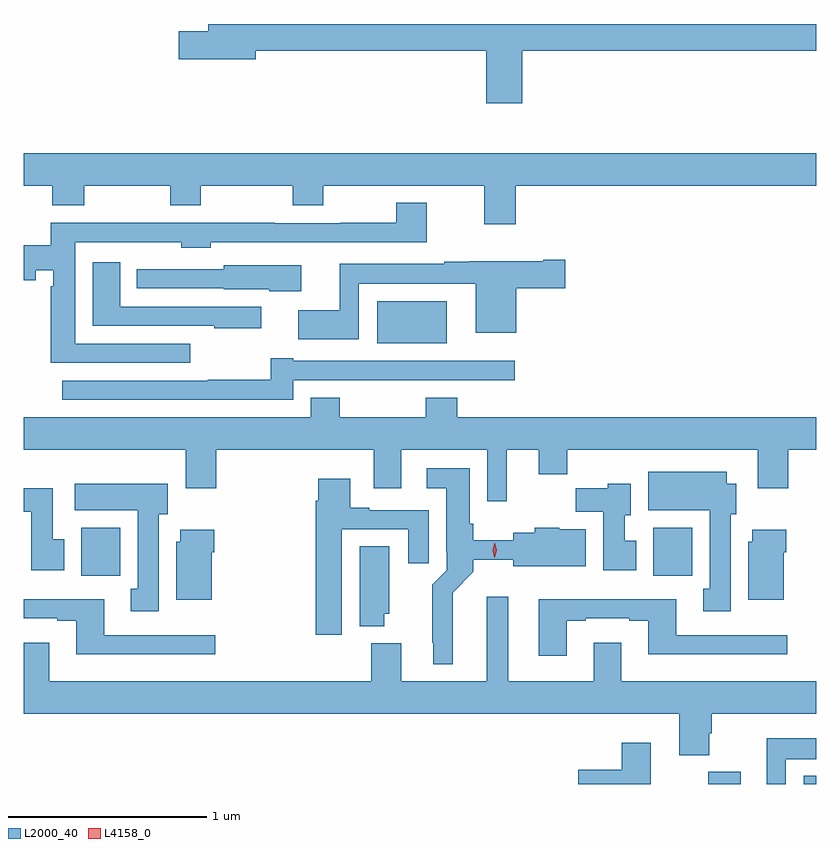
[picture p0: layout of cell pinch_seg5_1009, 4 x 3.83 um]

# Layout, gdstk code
import gdstk
lib = gdstk.Library(unit=1e-6, precision=1e-09)
def R(c, l, rs):  # rectangles x0, y0, x1, y1
    for r in rs: c.add(gdstk.rectangle(r[:2], r[2:], *l))
def P(c, l, *ps):  # polygons
    for p in ps: c.add(gdstk.Polygon(p, *l))
L2000_40 = (2000, 40)
L4158_0 = (4158, 0)

pinch_seg5_1009 = lib.new_cell('pinch_seg5_1009')
R(pinch_seg5_1009, L2000_40, [(749.87,852.41,750.034,852.471), (750.351,852.41,750.415,852.451), (746.705,853.46,746.902,853.702), (749.591,853.46,749.788,853.702), (748.199,854.633,748.549,854.845)])
P(pinch_seg5_1009, L2000_40, [(748.931,856.108),(750.415,856.108),(750.415,856.244),(747.347,856.244),(747.347,856.208),(747.198,856.208),(747.198,856.066),(747.586,856.066),(747.586,856.108),(748.748,856.108),(748.748,855.843),(748.931,855.843)],
  [(748.898,855.428),(750.415,855.428),(750.415,855.592),(746.415,855.592),(746.415,855.428),(746.561,855.428),(746.561,855.329),(746.721,855.329),(746.721,855.428),(747.154,855.428),(747.154,855.329),(747.309,855.329),(747.309,855.428),(747.772,855.428),(747.772,855.329),(747.927,855.329),(747.927,855.428),(748.738,855.428),(748.738,855.234),(748.898,855.234)],
  [(747.256,854.631),(746.677,854.631),(746.677,855.144),(746.998,855.144),(746.998,855.143),(747.21,855.143),(747.21,855.116),(747.36,855.116),(747.36,855.144),(748.449,855.144),(748.449,855.343),(748.294,855.343),(748.294,855.242),(748.015,855.242),(748.015,855.24),(747.683,855.24),(747.683,855.242),(746.552,855.242),(746.552,855.127),(746.415,855.127),(746.415,854.951),(746.476,854.951),(746.476,855.002),(746.564,855.002),(746.564,854.921),(746.552,854.921),(746.552,854.535),(747.256,854.535)],
  [(748.107,854.933),(748.697,854.933),(748.697,854.687),(748.9,854.687),(748.9,854.912),(749.149,854.912),(749.149,855.054),(749.036,855.054),(749.036,855.046),(748.664,855.046),(748.664,855.044),(748.537,855.044),(748.537,855.034),(748.01,855.034),(748.01,854.8),(747.801,854.8),(747.801,854.654),(748.107,854.654)],
  [(747.613,854.817),(746.902,854.817),(746.902,855.043),(746.765,855.043),(746.765,854.721),(747.377,854.721),(747.377,854.708),(747.613,854.708)],
  [(747.817,855.028),(747.426,855.028),(747.426,855.006),(746.987,855.006),(746.987,854.91),(747.426,854.91),(747.426,854.906),(747.654,854.906),(747.654,854.895),(747.817,854.895)],
  [(747.775,854.448),(748.099,854.448),(748.099,854.447),(748.355,854.447),(748.355,854.448),(748.894,854.448),(748.894,854.545),(748.645,854.545),(748.645,854.544),(747.775,854.544),(747.775,854.557),(747.661,854.557),(747.661,854.45),(747.343,854.45),(747.343,854.445),(746.61,854.445),(746.61,854.349),(747.775,854.349)],
  [(748.755,853.836),(748.852,853.836),(748.852,854.096),(749.015,854.096),(749.015,853.972),(749.159,853.972),(749.159,854.096),(750.119,854.096),(750.119,853.902),(750.272,853.902),(750.272,854.096),(750.415,854.096),(750.415,854.26),(748.604,854.26),(748.604,854.359),(748.444,854.359),(748.444,854.26),(748.011,854.26),(748.011,854.359),(747.863,854.359),(747.863,854.26),(746.415,854.26),(746.415,854.096),(747.233,854.096),(747.233,853.902),(747.386,853.902),(747.386,854.096),(748.181,854.096),(748.181,853.902),(748.321,853.902),(748.321,854.096),(748.755,854.096)],
  [(748.579,853.376),(748.684,853.482),(748.684,853.541),(748.886,853.541),(748.886,853.508),(749.251,853.508),(749.251,853.696),(749.118,853.696),(749.118,853.702),(748.993,853.702),(748.993,853.677),(748.886,853.677),(748.886,853.64),(748.684,853.64),(748.684,853.722),(748.666,853.722),(748.666,854.002),(748.449,854.002),(748.449,853.901),(748.547,853.901),(748.547,853.582),(748.551,853.582),(748.551,853.488),(748.477,853.414),(748.477,853.123),(748.481,853.123),(748.481,853.013),(748.579,853.013)],
  [(749.983,853.77),(750.01,853.77),(750.01,853.924),(749.962,853.924),(749.962,853.984),(749.567,853.984),(749.567,853.79),(749.876,853.79),(749.876,853.394),(749.843,853.394),(749.843,853.281),(749.983,853.281)],
  [(748.021,853.695),(748.355,853.695),(748.355,853.524),(748.459,853.524),(748.459,853.791),(748.159,853.791),(748.159,853.804),(748.063,853.804),(748.063,853.951),(747.902,853.951),(747.902,853.838),(747.89,853.838),(747.89,853.164),(748.021,853.164)],
  [(749.506,853.636),(749.449,853.636),(749.449,853.766),(749.479,853.766),(749.479,853.924),(749.361,853.924),(749.361,853.902),(749.2,853.902),(749.2,853.784),(749.339,853.784),(749.339,853.488),(749.506,853.488)],
  [(747.097,853.77),(747.142,853.77),(747.142,853.924),(746.673,853.924),(746.673,853.79),(746.99,853.79),(746.99,853.394),(746.957,853.394),(746.957,853.281),(747.097,853.281)],
  [(746.62,853.644),(746.563,853.644),(746.563,853.903),(746.415,853.903),(746.415,853.784),(746.453,853.784),(746.453,853.488),(746.62,853.488)],
  [(747.364,853.58),(747.377,853.58),(747.377,853.693),(747.206,853.693),(747.206,853.632),(747.185,853.632),(747.185,853.34),(747.364,853.34)],
  [(750.25,853.58),(750.263,853.58),(750.263,853.693),(750.092,853.693),(750.092,853.632),(750.071,853.632),(750.071,853.34),(750.25,853.34)],
  [(748.234,853.269),(748.261,853.269),(748.261,853.61),(748.112,853.61),(748.112,853.205),(748.234,853.205)],
  [(749.723,852.556),(749.875,852.556),(749.875,852.665),(749.888,852.665),(749.888,852.764),(750.415,852.764),(750.415,852.928),(749.431,852.928),(749.431,853.123),(749.291,853.123),(749.291,852.928),(748.861,852.928),(748.861,853.354),(748.751,853.354),(748.751,852.928),(748.321,852.928),(748.321,853.12),(748.169,853.12),(748.169,852.928),(746.545,852.928),(746.545,853.123),(746.415,853.123),(746.415,852.764),(749.723,852.764)],
  [(747.382,853.161),(746.821,853.161),(746.821,853.342),(746.415,853.342),(746.415,853.245),(746.585,853.245),(746.585,853.233),(746.681,853.233),(746.681,853.064),(747.382,853.064)],
  [(749.155,853.233),(749.251,853.233),(749.251,853.245),(749.471,853.245),(749.471,853.233),(749.567,853.233),(749.567,853.064),(750.268,853.064),(750.268,853.161),(749.707,853.161),(749.707,853.342),(749.015,853.342),(749.015,853.056),(749.155,853.056)],
  [(750.261,852.536),(750.415,852.536),(750.415,852.64),(750.164,852.64),(750.164,852.41),(750.261,852.41)],
  [(749.578,852.619),(749.432,852.619),(749.432,852.481),(749.214,852.481),(749.214,852.41),(749.578,852.41)])
P(pinch_seg5_1009, L4158_0, [(748.79,853.554),(748.781,853.59),(748.791,853.626),(748.792,853.626),(748.792,853.626),(748.801,853.59),(748.791,853.554),(748.791,853.554)])

lib.write_gds('pinch_seg5_1009.gds')
